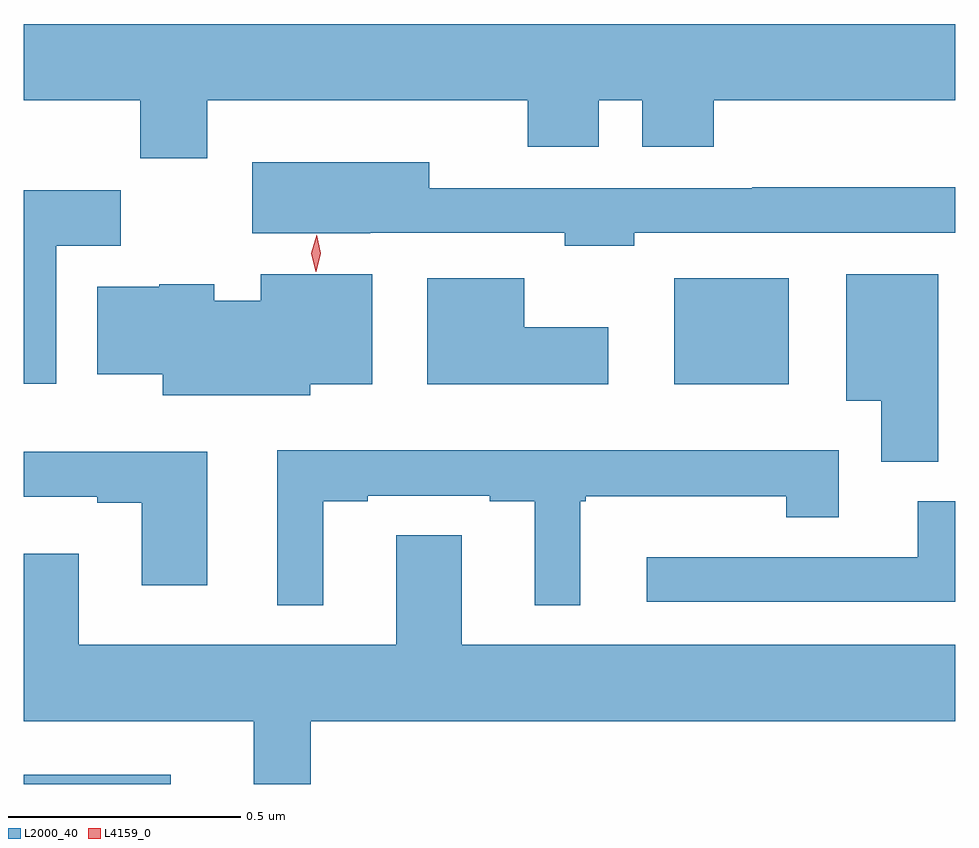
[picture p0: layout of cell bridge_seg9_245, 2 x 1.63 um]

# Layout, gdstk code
import gdstk
lib = gdstk.Library(unit=1e-6, precision=1e-09)
def R(c, l, rs):  # rectangles x0, y0, x1, y1
    for r in rs: c.add(gdstk.rectangle(r[:2], r[2:], *l))
def P(c, l, *ps):  # polygons
    for p in ps: c.add(gdstk.Polygon(p, *l))
L2000_40 = (2000, 40)
L4159_0 = (4159, 0)

bridge_seg9_245 = lib.new_cell('bridge_seg9_245')
R(bridge_seg9_245, L2000_40, [(337.125,1166.981,337.441,1167.001), (338.522,1167.839,338.767,1168.066)])
P(bridge_seg9_245, L2000_40, [(337.519,1168.448),(338.207,1168.448),(338.207,1168.349),(338.359,1168.349),(338.359,1168.448),(338.453,1168.448),(338.453,1168.349),(338.606,1168.349),(338.606,1168.448),(339.125,1168.448),(339.125,1168.612),(337.125,1168.612),(337.125,1168.448),(337.375,1168.448),(337.375,1168.324),(337.519,1168.324)],
  [(338.436,1168.164),(339.125,1168.164),(339.125,1168.262),(338.689,1168.262),(338.689,1168.26),(337.996,1168.26),(337.996,1168.315),(337.616,1168.315),(337.616,1168.163),(337.869,1168.163),(337.869,1168.164),(338.286,1168.164),(338.286,1168.136),(338.436,1168.136)],
  [(337.195,1168.136),(337.334,1168.136),(337.334,1168.255),(337.125,1168.255),(337.125,1167.84),(337.195,1167.84)],
  [(337.74,1167.839),(337.873,1167.839),(337.873,1168.075),(337.634,1168.075),(337.634,1168.018),(337.534,1168.018),(337.534,1168.054),(337.416,1168.054),(337.416,1168.048),(337.283,1168.048),(337.283,1167.86),(337.424,1167.86),(337.424,1167.815),(337.74,1167.815)],
  [(339.088,1168.075),(338.891,1168.075),(338.891,1167.803),(338.966,1167.803),(338.966,1167.673),(339.088,1167.673)],
  [(338.38,1167.961),(338.2,1167.961),(338.2,1168.066),(337.991,1168.066),(337.991,1167.839),(338.38,1167.839)],
  [(337.768,1167.588),(337.864,1167.588),(337.864,1167.6),(338.126,1167.6),(338.126,1167.588),(338.222,1167.588),(338.222,1167.365),(338.32,1167.365),(338.32,1167.588),(338.332,1167.588),(338.332,1167.599),(338.762,1167.599),(338.762,1167.553),(338.875,1167.553),(338.875,1167.697),(337.67,1167.697),(337.67,1167.365),(337.768,1167.365)],
  [(337.519,1167.694),(337.125,1167.694),(337.125,1167.597),(337.283,1167.597),(337.283,1167.585),(337.379,1167.585),(337.379,1167.408),(337.519,1167.408)],
  [(339.125,1167.588),(339.044,1167.588),(339.044,1167.468),(338.463,1167.468),(338.463,1167.372),(339.125,1167.372)],
  [(337.741,1167.116),(339.125,1167.116),(339.125,1167.28),(338.065,1167.28),(338.065,1167.515),(337.925,1167.515),(337.925,1167.28),(337.243,1167.28),(337.243,1167.475),(337.125,1167.475),(337.125,1167.116),(337.619,1167.116),(337.619,1166.981),(337.741,1166.981)])
P(bridge_seg9_245, L4159_0, [(337.752,1168.08),(337.743,1168.12),(337.754,1168.16),(337.754,1168.16),(337.754,1168.16),(337.763,1168.12),(337.753,1168.08),(337.753,1168.08)])

lib.write_gds('bridge_seg9_245.gds')
